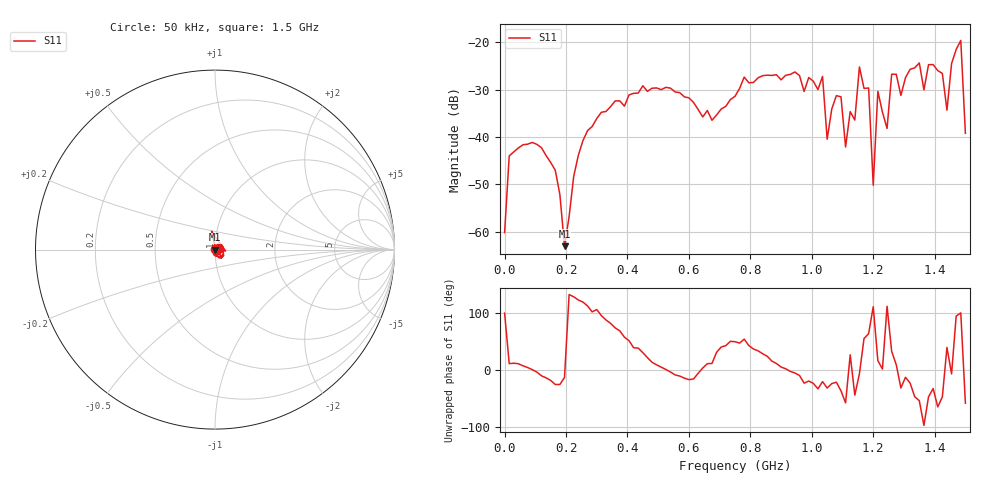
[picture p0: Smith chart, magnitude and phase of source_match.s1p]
! Created with skrf 1.8.0 (http://scikit-rf.org).
# Hz S RI R 50.0
!freq ReS11 ImS11
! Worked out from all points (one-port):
!   101 points, 50 kHz to 1.5 GHz, reference 50 ohm
!   lowest |S11| = -63.0 dB at 195 MHz (marker M1), VSWR 1.00, Z = 50.1 - j0.016 ohm
!   |S11| at or under -10 dB: start of sweep to end of sweep
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50000  -0.000175 0.000968
1.50495e7  0.0062 0.00124
9.0047e7  0.00877 0.000127
1.650445e8  0.00403 -0.00191
1.950435e8  0.00069 -0.00016
2.550415e8  -0.00453 0.00797
3.750375e8  0.00863 0.0225
5.70031e8  0.0289 -0.00535
6.750275e8  0.0147 0.00302
7.50025e8  0.0173 0.0206
9.450185e8  0.0483 -0.00436
1.035016e9  0.0408 -0.0151
1.050015e9  0.00808 -0.00497
1.080014e9  0.0254 -0.00993
1.110013e9  0.0042 -0.00664
1.125012e9  0.0165 0.00835
1.140012e9  0.0109 -0.0105
1.155012e9  0.0544 -0.00625
1.18501e9  0.0143 0.0296
1.20001e9  -0.00114 0.00289
1.21501e9  0.029 0.00872
1.245008e9  -0.00466 0.0114
1.260008e9  0.0385 0.025
1.320006e9  0.0477 -0.02
1.425002e9  0.0318 -0.0343
1.440002e9  0.0147 0.0123
1.485e9  -0.0192 0.1024
1.5e9  0.00577 -0.0093
